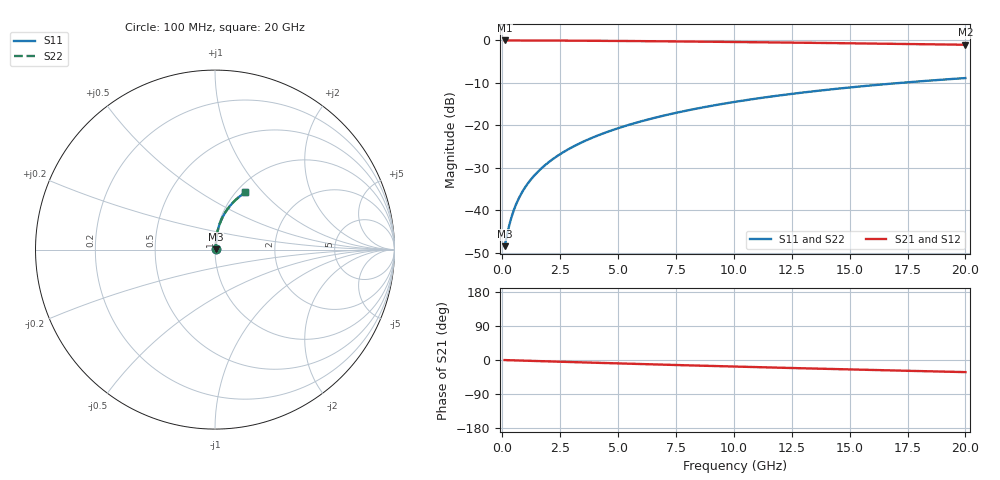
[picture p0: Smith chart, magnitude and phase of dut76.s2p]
! Touchstone file exported from HFSS 2024.1.0
!  File:  C:/UserFiles/LocalFiles/RDL_TSV_Batchsim/temp_RDL_bottom_76_1778694092.aedt
!  Generated:  01:44:16 AM May 14, 2026
!  Design:  RDL_bottom
!  Project:  temp_RDL_bottom_76_1778694092
!  Setup:  Setup1
!  Solution:  Sweep
! Variables:
!  dtsv = 10.80580581um
!  hbump = 3um
!  htsv = 78.01um
!  ldown = 383.08um
!  lrdl = 100um
!  p = 40
!  p1 = 53.76um
!  rhole = 1um
!  t = 450um
!  tdown = 2.51um
!  trdl = 3.915915916um
!  wdown = 17.83um
!  wrdl = 20um
# GHz S MA R 50.000000
! Terminal data exported
! Port[1] = RDL1_T1
! Port[2] = RDL1_T2
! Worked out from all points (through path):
!   200 points, 100 MHz to 20 GHz, reference 50 ohm
!   highest |S21| = -0.03 dB at 100 MHz (marker M1); lowest = -1.0 dB at 20 GHz (marker M2)
!   group delay of S21, straight-line fit = 4.42 ps
!   lowest |S11| = -48.4 dB at 100 MHz (marker M3), VSWR 1.01, Z = 50.3 + j0.195 ohm
!   |S11| at or under -10 dB: start of sweep to 17.2 GHz
!   |S22| runs from -48.4 to -8.9 dB; largest |S21 - S12| = 2.1e-15
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0.1  0.003807 30.6  0.9967 -0.2  0.9967 -0.2  0.003807 30.6
! Gamma 0 0 0 0
! Port Impedance 50 0 50 0
0.3  0.006697 59.2  0.9965 -0.6  0.9965 -0.6  0.006697 59.2
0.4  0.0084 65.1  0.9964 -0.8  0.9964 -0.8  0.0084 65.1
0.5  0.01014 69.0  0.9963 -0.9  0.9963 -0.9  0.01014 69.0
0.6  0.0119 71.6  0.9962 -1.1  0.9962 -1.1  0.0119 71.6
0.8  0.01542 75.1  0.9959 -1.5  0.9959 -1.5  0.01542 75.1
1.1  0.02073 78.2  0.9954 -2.0  0.9954 -2.0  0.02073 78.2
1.3  0.02429 79.5  0.9951 -2.4  0.9951 -2.4  0.02429 79.5
1.6  0.02966 80.8  0.9946 -2.9  0.9946 -2.9  0.02966 80.8
2.1  0.0387 82.1  0.9936 -3.9  0.9936 -3.9  0.0387 82.1
2.7  0.04966 82.9  0.9921 -4.9  0.9921 -4.9  0.04966 82.8
3.5  0.06445 83.1  0.9897 -6.4  0.9897 -6.4  0.06445 83.1
4.2  0.07755 82.9  0.9871 -7.6  0.9871 -7.6  0.07754 82.9
5  0.09266 82.5  0.9838 -9.0  0.9838 -9.0  0.09266 82.5
5.9  0.1098 81.7  0.9796 -10.5  0.9796 -10.5  0.1098 81.7
6.8  0.1271 80.8  0.975 -12.1  0.975 -12.1  0.1271 80.8
8.4  0.1578 78.8  0.9662 -14.7  0.9662 -14.7  0.1578 78.8
10.1  0.1902 76.5  0.9559 -17.4  0.9559 -17.4  0.1902 76.5
11.7  0.2201 74.1  0.9457 -19.9  0.9457 -19.9  0.2201 74.1
13.4  0.2511 71.6  0.9344 -22.5  0.9344 -22.5  0.2511 71.6
16.7  0.3081 66.7  0.9114 -27.4  0.9114 -27.4  0.308 66.7
20  0.3603 62.0  0.8874 -32.0  0.8874 -32.0  0.3602 62.0
